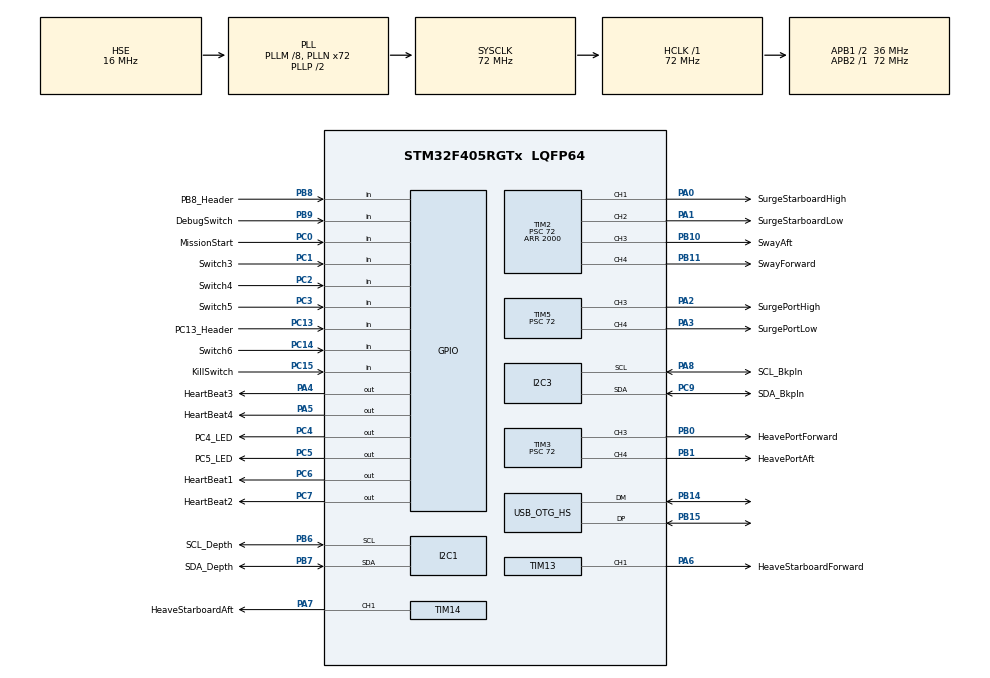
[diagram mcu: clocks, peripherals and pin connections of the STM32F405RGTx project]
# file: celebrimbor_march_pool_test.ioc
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FREERTOS.Tasks01=defaultTask,0,128,StartDefaultTask,Default,NULL
Mcu.Family=STM32F4
Mcu.Name=STM32F405RGTx
Mcu.Package=LQFP64
NVIC.OTG_HS_IRQn=true\:5\:0\:false\:false\:true\:true\:false
NVIC.PriorityGroup=NVIC_PRIORITYGROUP_4
NVIC.TIM1_UP_TIM10_IRQn=true\:0\:0\:false\:false\:true\:false\:false
NVIC.TimeBase=TIM1_UP_TIM10_IRQn
NVIC.TimeBaseIP=TIM1
PA0-WKUP.GPIO_Label=SurgeStarboardHigh
PA0-WKUP.Signal=S_TIM2_CH1_ETR
PA1.GPIO_Label=SurgeStarboardLow
PA1.Signal=S_TIM2_CH2
PA13.Mode=JTAG_5_pins
PA13.Signal=SYS_JTMS-SWDIO
PA14.Mode=JTAG_5_pins
PA14.Signal=SYS_JTCK-SWCLK
PA15.Mode=JTAG_5_pins
PA15.Signal=SYS_JTDI
PA2.GPIO_Label=SurgePortHigh
PA2.Signal=S_TIM5_CH3
PA3.GPIO_Label=SurgePortLow
PA3.Signal=S_TIM5_CH4
PA4.GPIO_Label=HeartBeat3
PA4.Signal=GPIO_Output
PA5.GPIO_Label=HeartBeat4
PA5.Signal=GPIO_Output
PA6.GPIO_Label=HeaveStarboardForward
PA6.Signal=S_TIM13_CH1
PA7.GPIO_Label=HeaveStarboardAft
PA7.Signal=S_TIM14_CH1
PA8.GPIO_Label=SCL_Bkpln
PA8.Mode=I2C
PA8.Signal=I2C3_SCL
PB0.GPIO_Label=HeavePortForward
PB0.Signal=S_TIM3_CH3
PB1.GPIO_Label=HeavePortAft
PB1.Signal=S_TIM3_CH4
PB10.GPIO_Label=SwayAft
PB10.Signal=S_TIM2_CH3
PB11.GPIO_Label=SwayForward
PB11.Signal=S_TIM2_CH4
PB14.Mode=Device_Only_FS
PB14.Signal=USB_OTG_HS_DM
PB15.Mode=Device_Only_FS
PB15.Signal=USB_OTG_HS_DP
PB3.Mode=JTAG_5_pins
PB3.Signal=SYS_JTDO-SWO
PB4.Mode=JTAG_5_pins
PB4.Signal=SYS_JTRST
PB6.GPIO_Label=SCL_Depth
PB6.Mode=I2C
PB6.Signal=I2C1_SCL
PB7.GPIO_Label=SDA_Depth
PB7.Mode=I2C
PB7.Signal=I2C1_SDA
PB8.GPIO_Label=PB8_Header
PB8.Signal=GPIO_Input
PB9.GPIO_Label=DebugSwitch
PB9.Signal=GPIO_Input
PC0.GPIO_Label=MissionStart
PC0.Signal=GPIO_Input
PC1.GPIO_Label=Switch3
PC1.GPIO_PuPd=GPIO_PULLDOWN
PC1.Signal=GPIO_Input
PC13-ANTI_TAMP.GPIO_Label=PC13_Header
PC13-ANTI_TAMP.Signal=GPIO_Input
PC14-OSC32_IN.GPIO_Label=Switch6
PC14-OSC32_IN.GPIO_PuPd=GPIO_PULLDOWN
PC14-OSC32_IN.Signal=GPIO_Input
PC15-OSC32_OUT.GPIO_Label=KillSwitch
PC15-OSC32_OUT.Signal=GPIO_Input
PC2.GPIO_Label=Switch4
PC2.GPIO_PuPd=GPIO_PULLDOWN
PC2.Signal=GPIO_Input
PC3.GPIO_Label=Switch5
PC3.GPIO_PuPd=GPIO_PULLDOWN
PC3.Signal=GPIO_Input
PC4.GPIO_Label=PC4_LED
PC4.Signal=GPIO_Output
PC5.GPIO_Label=PC5_LED
PC5.Signal=GPIO_Output
PC6.GPIO_Label=HeartBeat1
PC6.Signal=GPIO_Output
PC7.GPIO_Label=HeartBeat2
PC7.Signal=GPIO_Output
PC9.GPIO_Label=SDA_Bkpln
PC9.Mode=I2C
PC9.Signal=I2C3_SDA
PH0-OSC_IN.Mode=HSE-External-Oscillator
PH0-OSC_IN.Signal=RCC_OSC_IN
PH1-OSC_OUT.Mode=HSE-External-Oscillator
PH1-OSC_OUT.Signal=RCC_OSC_OUT
ProjectManager.HeapSize=0x200
ProjectManager.StackSize=0x400
ProjectManager.TargetToolchain=TrueSTUDIO
RCC.48MHZClocksFreq_Value=48000000
RCC.AHBFreq_Value=72000000
RCC.APB1CLKDivider=RCC_HCLK_DIV2
RCC.APB1Freq_Value=36000000
RCC.APB1TimFreq_Value=72000000
RCC.APB2Freq_Value=72000000
RCC.APB2TimFreq_Value=72000000
RCC.CortexFreq_Value=72000000
RCC.HCLKFreq_Value=72000000
RCC.HSE_VALUE=16000000
RCC.HSI_VALUE=16000000
RCC.LSE_VALUE=32768
RCC.PLLM=8
RCC.PLLN=72
RCC.PLLQ=3
RCC.SYSCLKFreq_VALUE=72000000
RCC.SYSCLKSource=RCC_SYSCLKSOURCE_PLLCLK
RCC.VCOOutputFreq_Value=144000000
SH.S_TIM13_CH1.0=TIM13_CH1,PWM Generation1 CH1
SH.S_TIM14_CH1.0=TIM14_CH1,PWM Generation1 CH1
SH.S_TIM2_CH1_ETR.0=TIM2_CH1,PWM Generation1 CH1
SH.S_TIM2_CH2.0=TIM2_CH2,PWM Generation2 CH2
SH.S_TIM2_CH3.0=TIM2_CH3,PWM Generation3 CH3
SH.S_TIM2_CH4.0=TIM2_CH4,PWM Generation4 CH4
SH.S_TIM3_CH3.0=TIM3_CH3,PWM Generation3 CH3
SH.S_TIM3_CH4.0=TIM3_CH4,PWM Generation4 CH4
SH.S_TIM5_CH3.0=TIM5_CH3,PWM Generation3 CH3
SH.S_TIM5_CH4.0=TIM5_CH4,PWM Generation4 CH4
TIM13.Channel=TIM_CHANNEL_1
TIM13.Period=2000
TIM13.Prescaler=72
TIM13.Pulse=1500
TIM14.Channel=TIM_CHANNEL_1
TIM14.Period=2000
TIM14.Prescaler=72
TIM14.Pulse=1500
TIM2.Channel-PWM\ Generation1\ CH1=TIM_CHANNEL_1
TIM2.Channel-PWM\ Generation2\ CH2=TIM_CHANNEL_2
TIM2.Channel-PWM\ Generation3\ CH3=TIM_CHANNEL_3
TIM2.Channel-PWM\ Generation4\ CH4=TIM_CHANNEL_4
TIM2.Period=2000
TIM2.Prescaler=72
TIM2.Pulse-PWM\ Generation1\ CH1=1500
TIM2.Pulse-PWM\ Generation2\ CH2=1500
TIM2.Pulse-PWM\ Generation3\ CH3=1500
TIM2.Pulse-PWM\ Generation4\ CH4=1500
TIM3.Channel-PWM\ Generation3\ CH3=TIM_CHANNEL_3
TIM3.Channel-PWM\ Generation4\ CH4=TIM_CHANNEL_4
TIM3.Period=2000
TIM3.Prescaler=72
TIM3.Pulse-PWM\ Generation3\ CH3=1500
TIM3.Pulse-PWM\ Generation4\ CH4=1500
TIM5.Channel-PWM\ Generation3\ CH3=TIM_CHANNEL_3
TIM5.Channel-PWM\ Generation4\ CH4=TIM_CHANNEL_4
TIM5.Period=2000
TIM5.Prescaler=72
TIM5.Pulse-PWM\ Generation3\ CH3=1500
TIM5.Pulse-PWM\ Generation4\ CH4=1500
USB_DEVICE.CLASS_NAME_HS=CDC
USB_DEVICE.VirtualMode-CDC_HS=Cdc
USB_DEVICE.VirtualModeHS=Cdc_HS
USB_OTG_HS.VirtualMode-Device_Only_FS=Device_Only_FS
VP_FREERTOS_VS_ENABLE.Mode=Enabled
VP_SYS_VS_tim1.Mode=TIM1
VP_TIM13_VS_ClockSourceINT.Mode=Enable_Timer
VP_TIM14_VS_ClockSourceINT.Mode=Enable_Timer
VP_USB_DEVICE_VS_USB_DEVICE_CDC_HS.Mode=CDC_HS
board=celebrimbor_march_pool_test

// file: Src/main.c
/**
  ******************************************************************************
  * File Name          : main.c
  * Description        : Main program body
  ******************************************************************************
  * This notice applies to any and all portions of this file
  * that are not between comment pairs USER CODE BEGIN and
  * USER CODE END. Other portions of this file, whether
  * inserted by the user or by software development tools
  * are owned by their respective copyright owners.
  *
  * Copyright (c) 2018 STMicroelectronics International N.V.
  * All rights reserved.
  *
  * Redistribution and use in source and binary forms, with or without
  * modification, are permitted, provided that the following conditions are met:
  *
  * 1. Redistribution of source code must retain the above copyright notice,
  *    this list of conditions and the following disclaimer.
  * 2. Redistributions in binary form must reproduce the above copyright notice,
  *    this list of conditions and the following disclaimer in the documentation
  *    and/or other materials provided with the distribution.
  * 3. Neither the name of STMicroelectronics nor the names of other
  *    contributors to this software may be used to endorse or promote products
  *    derived from this software without specific written permission.
  * 4. This software, including modifications and/or derivative works of this
  *    software, must execute solely and exclusively on microcontroller or
  *    microprocessor devices manufactured by or for STMicroelectronics.
  * 5. Redistribution and use of this software other than as permitted under
  *    this license is void and will automatically terminate your rights under
  *    this license.
  *
  * THIS SOFTWARE IS PROVIDED BY STMICROELECTRONICS AND CONTRIBUTORS "AS IS"
  * AND ANY EXPRESS, IMPLIED OR STATUTORY WARRANTIES, INCLUDING, BUT NOT
  * LIMITED TO, THE IMPLIED WARRANTIES OF MERCHANTABILITY, FITNESS FOR A
  * PARTICULAR PURPOSE AND NON-INFRINGEMENT OF THIRD PARTY INTELLECTUAL PROPERTY
  * RIGHTS ARE DISCLAIMED TO THE FULLEST EXTENT PERMITTED BY LAW. IN NO EVENT
  * SHALL STMICROELECTRONICS OR CONTRIBUTORS BE LIABLE FOR ANY DIRECT, INDIRECT,
  * INCIDENTAL, SPECIAL, EXEMPLARY, OR CONSEQUENTIAL DAMAGES (INCLUDING, BUT NOT
  * LIMITED TO, PROCUREMENT OF SUBSTITUTE GOODS OR SERVICES; LOSS OF USE, DATA,
  * OR PROFITS; OR BUSINESS INTERRUPTION) HOWEVER CAUSED AND ON ANY THEORY OF
  * LIABILITY, WHETHER IN CONTRACT, STRICT LIABILITY, OR TORT (INCLUDING
  * NEGLIGENCE OR OTHERWISE) ARISING IN ANY WAY OUT OF THE USE OF THIS SOFTWARE,
  * EVEN IF ADVISED OF THE POSSIBILITY OF SUCH DAMAGE.
  *
  ******************************************************************************
  */

#include "main.h"
#include "stm32f4xx_hal.h"
#include "cmsis_os.h"
#include "usb_device.h"

/* USER CODE BEGIN Includes */
#include "riptideMain.h"
/* USER CODE END Includes */

I2C_HandleTypeDef hi2c1;
I2C_HandleTypeDef hi2c3;

TIM_HandleTypeDef htim2;
TIM_HandleTypeDef htim3;
TIM_HandleTypeDef htim5;
TIM_HandleTypeDef htim13;
TIM_HandleTypeDef htim14;

osThreadId defaultTaskHandle;

/* USER CODE BEGIN PV */
/* Private variables ---------------------------------------------------------*/
TIM_HandleTypeDef htim2;
TIM_HandleTypeDef htim3;
TIM_HandleTypeDef htim5;
TIM_HandleTypeDef htim13;
TIM_HandleTypeDef htim14;
/* USER CODE END PV */

void SystemClock_Config(void);
static void MX_GPIO_Init(void);
static void MX_TIM2_Init(void);
static void MX_TIM13_Init(void);
static void MX_TIM14_Init(void);
static void MX_I2C3_Init(void);
static void MX_I2C1_Init(void);
static void MX_TIM3_Init(void);
static void MX_TIM5_Init(void);
void StartDefaultTask(void const * argument);

void HAL_TIM_MspPostInit(TIM_HandleTypeDef *htim);

/* USER CODE BEGIN PFP */
/* Private function prototypes -----------------------------------------------*/

I2C_HandleTypeDef* getI2CRef();
/* USER CODE END PFP */

int main(void)
{

  /* MCU Configuration----------------------------------------------------------*/

  /* Reset of all peripherals, Initializes the Flash interface and the Systick. */
  HAL_Init();

  /* Configure the system clock */
  SystemClock_Config();

  /* Initialize all configured peripherals */
  MX_GPIO_Init();
  MX_TIM2_Init();
  MX_TIM13_Init();
  MX_TIM14_Init();
  MX_I2C3_Init();
  MX_I2C1_Init();
  MX_TIM3_Init();
  MX_TIM5_Init();

  /* USER CODE BEGIN RTOS_TIMERS */
  /* start timers, add new ones, ... */
  HAL_TIM_PWM_Start(&htim2, TIM_CHANNEL_1);
  HAL_TIM_PWM_Start(&htim2, TIM_CHANNEL_2);
  HAL_TIM_PWM_Start(&htim2, TIM_CHANNEL_3);
  HAL_TIM_PWM_Start(&htim2, TIM_CHANNEL_4);
  HAL_TIM_PWM_Start(&htim3, TIM_CHANNEL_3);
  HAL_TIM_PWM_Start(&htim3, TIM_CHANNEL_4);
  HAL_TIM_PWM_Start(&htim5, TIM_CHANNEL_3);
  HAL_TIM_PWM_Start(&htim5, TIM_CHANNEL_4);
  HAL_TIM_PWM_Start(&htim13, TIM_CHANNEL_1);
  HAL_TIM_PWM_Start(&htim14, TIM_CHANNEL_1);
  /* USER CODE END RTOS_TIMERS */

  /* Create the thread(s) */
  /* definition and creation of defaultTask */
  osThreadDef(defaultTask, StartDefaultTask, osPriorityNormal, 0, 128);
  defaultTaskHandle = osThreadCreate(osThread(defaultTask), NULL);

  /* USER CODE BEGIN RTOS_THREADS */
  /* add threads, ... */
  riptideMain();
  /* USER CODE END RTOS_THREADS */

  /* Start scheduler */
  osKernelStart();

  /* We should never get here as control is now taken by the scheduler */

  /* Infinite loop */
  while (1)
  {

  }

}

/** System Clock Configuration
*/
void SystemClock_Config(void)
{

  RCC_OscInitTypeDef RCC_OscInitStruct;
  RCC_ClkInitTypeDef RCC_ClkInitStruct;

    /**Configure the main internal regulator output voltage
    */
  __HAL_RCC_PWR_CLK_ENABLE();

  __HAL_PWR_VOLTAGESCALING_CONFIG(PWR_REGULATOR_VOLTAGE_SCALE1);

    /**Initializes the CPU, AHB and APB busses clocks
    */
  RCC_OscInitStruct.OscillatorType = RCC_OSCILLATORTYPE_HSE;
  RCC_OscInitStruct.HSEState = RCC_HSE_ON;
  RCC_OscInitStruct.PLL.PLLState = RCC_PLL_ON;
  RCC_OscInitStruct.PLL.PLLSource = RCC_PLLSOURCE_HSE;
  RCC_OscInitStruct.PLL.PLLM = 8;
  RCC_OscInitStruct.PLL.PLLN = 72;
  RCC_OscInitStruct.PLL.PLLP = RCC_PLLP_DIV2;
  RCC_OscInitStruct.PLL.PLLQ = 3;
  if (HAL_RCC_OscConfig(&RCC_OscInitStruct) != HAL_OK)
  {
    _Error_Handler(__FILE__, __LINE__);
  }

    /**Initializes the CPU, AHB and APB busses clocks
    */
  RCC_ClkInitStruct.ClockType = RCC_CLOCKTYPE_HCLK|RCC_CLOCKTYPE_SYSCLK
                              |RCC_CLOCKTYPE_PCLK1|RCC_CLOCKTYPE_PCLK2;
  RCC_ClkInitStruct.SYSCLKSource = RCC_SYSCLKSOURCE_PLLCLK;
  RCC_ClkInitStruct.AHBCLKDivider = RCC_SYSCLK_DIV1;
  RCC_ClkInitStruct.APB1CLKDivider = RCC_HCLK_DIV2;
  RCC_ClkInitStruct.APB2CLKDivider = RCC_HCLK_DIV1;

  if (HAL_RCC_ClockConfig(&RCC_ClkInitStruct, FLASH_LATENCY_2) != HAL_OK)
  {
    _Error_Handler(__FILE__, __LINE__);
  }

    /**Configure the Systick interrupt time
    */
  HAL_SYSTICK_Config(HAL_RCC_GetHCLKFreq()/1000);

    /**Configure the Systick
    */
  HAL_SYSTICK_CLKSourceConfig(SYSTICK_CLKSOURCE_HCLK);

  /* SysTick_IRQn interrupt configuration */
  HAL_NVIC_SetPriority(SysTick_IRQn, 15, 0);
}

/* I2C1 init function */
static void MX_I2C1_Init(void)
{

  hi2c1.Instance = I2C1;
  hi2c1.Init.ClockSpeed = 100000;
  hi2c1.Init.DutyCycle = I2C_DUTYCYCLE_2;
  hi2c1.Init.OwnAddress1 = 0;
  hi2c1.Init.AddressingMode = I2C_ADDRESSINGMODE_7BIT;
  hi2c1.Init.DualAddressMode = I2C_DUALADDRESS_DISABLE;
  hi2c1.Init.OwnAddress2 = 0;
  hi2c1.Init.GeneralCallMode = I2C_GENERALCALL_DISABLE;
  hi2c1.Init.NoStretchMode = I2C_NOSTRETCH_DISABLE;
  if (HAL_I2C_Init(&hi2c1) != HAL_OK)
  {
    _Error_Handler(__FILE__, __LINE__);
  }

}

/* I2C3 init function */
static void MX_I2C3_Init(void)
{

  hi2c3.Instance = I2C3;
  hi2c3.Init.ClockSpeed = 100000;
  hi2c3.Init.DutyCycle = I2C_DUTYCYCLE_2;
  hi2c3.Init.OwnAddress1 = 0;
  hi2c3.Init.AddressingMode = I2C_ADDRESSINGMODE_7BIT;
  hi2c3.Init.DualAddressMode = I2C_DUALADDRESS_DISABLE;
  hi2c3.Init.OwnAddress2 = 0;
  hi2c3.Init.GeneralCallMode = I2C_GENERALCALL_DISABLE;
  hi2c3.Init.NoStretchMode = I2C_NOSTRETCH_DISABLE;
  if (HAL_I2C_Init(&hi2c3) != HAL_OK)
  {
    _Error_Handler(__FILE__, __LINE__);
  }

}

/* TIM2 init function */
static void MX_TIM2_Init(void)
{

  TIM_MasterConfigTypeDef sMasterConfig;
  TIM_OC_InitTypeDef sConfigOC;

  htim2.Instance = TIM2;
  htim2.Init.Prescaler = 72;
  htim2.Init.CounterMode = TIM_COUNTERMODE_UP;
  htim2.Init.Period = 2000;
  htim2.Init.ClockDivision = TIM_CLOCKDIVISION_DIV1;
  if (HAL_TIM_PWM_Init(&htim2) != HAL_OK)
  {
    _Error_Handler(__FILE__, __LINE__);
  }

  sMasterConfig.MasterOutputTrigger = TIM_TRGO_RESET;
  sMasterConfig.MasterSlaveMode = TIM_MASTERSLAVEMODE_DISABLE;
  if (HAL_TIMEx_MasterConfigSynchronization(&htim2, &sMasterConfig) != HAL_OK)
  {
    _Error_Handler(__FILE__, __LINE__);
  }

  sConfigOC.OCMode = TIM_OCMODE_PWM1;
  sConfigOC.Pulse = 1500;
  sConfigOC.OCPolarity = TIM_OCPOLARITY_HIGH;
  sConfigOC.OCFastMode = TIM_OCFAST_DISABLE;
  if (HAL_TIM_PWM_ConfigChannel(&htim2, &sConfigOC, TIM_CHANNEL_1) != HAL_OK)
  {
    _Error_Handler(__FILE__, __LINE__);
  }

  if (HAL_TIM_PWM_ConfigChannel(&htim2, &sConfigOC, TIM_CHANNEL_2) != HAL_OK)
  {
    _Error_Handler(__FILE__, __LINE__);
  }

  if (HAL_TIM_PWM_ConfigChannel(&htim2, &sConfigOC, TIM_CHANNEL_3) != HAL_OK)
  {
    _Error_Handler(__FILE__, __LINE__);
  }

  if (HAL_TIM_PWM_ConfigChannel(&htim2, &sConfigOC, TIM_CHANNEL_4) != HAL_OK)
  {
    _Error_Handler(__FILE__, __LINE__);
  }

  HAL_TIM_MspPostInit(&htim2);

}

/* TIM3 init function */
static void MX_TIM3_Init(void)
{

  TIM_MasterConfigTypeDef sMasterConfig;
  TIM_OC_InitTypeDef sConfigOC;

  htim3.Instance = TIM3;
  htim3.Init.Prescaler = 72;
  htim3.Init.CounterMode = TIM_COUNTERMODE_UP;
  htim3.Init.Period = 2000;
  htim3.Init.ClockDivision = TIM_CLOCKDIVISION_DIV1;
  if (HAL_TIM_PWM_Init(&htim3) != HAL_OK)
  {
    _Error_Handler(__FILE__, __LINE__);
  }

  sMasterConfig.MasterOutputTrigger = TIM_TRGO_RESET;
  sMasterConfig.MasterSlaveMode = TIM_MASTERSLAVEMODE_DISABLE;
  if (HAL_TIMEx_MasterConfigSynchronization(&htim3, &sMasterConfig) != HAL_OK)
  {
    _Error_Handler(__FILE__, __LINE__);
  }

  sConfigOC.OCMode = TIM_OCMODE_PWM1;
  sConfigOC.Pulse = 1500;
  sConfigOC.OCPolarity = TIM_OCPOLARITY_HIGH;
  sConfigOC.OCFastMode = TIM_OCFAST_DISABLE;
  if (HAL_TIM_PWM_ConfigChannel(&htim3, &sConfigOC, TIM_CHANNEL_3) != HAL_OK)
  {
    _Error_Handler(__FILE__, __LINE__);
  }

  if (HAL_TIM_PWM_ConfigChannel(&htim3, &sConfigOC, TIM_CHANNEL_4) != HAL_OK)
  {
    _Error_Handler(__FILE__, __LINE__);
  }

  HAL_TIM_MspPostInit(&htim3);

}

/* TIM5 init function */
static void MX_TIM5_Init(void)
{

  TIM_MasterConfigTypeDef sMasterConfig;
  TIM_OC_InitTypeDef sConfigOC;

  htim5.Instance = TIM5;
  htim5.Init.Prescaler = 72;
  htim5.Init.CounterMode = TIM_COUNTERMODE_UP;
  htim5.Init.Period = 2000;
  htim5.Init.ClockDivision = TIM_CLOCKDIVISION_DIV1;
  if (HAL_TIM_PWM_Init(&htim5) != HAL_OK)
  {
    _Error_Handler(__FILE__, __LINE__);
  }

  sMasterConfig.MasterOutputTrigger = TIM_TRGO_RESET;
  sMasterConfig.MasterSlaveMode = TIM_MASTERSLAVEMODE_DISABLE;
  if (HAL_TIMEx_MasterConfigSynchronization(&htim5, &sMasterConfig) != HAL_OK)
  {
    _Error_Handler(__FILE__, __LINE__);
  }

  sConfigOC.OCMode = TIM_OCMODE_PWM1;
  sConfigOC.Pulse = 1500;
  sConfigOC.OCPolarity = TIM_OCPOLARITY_HIGH;
  sConfigOC.OCFastMode = TIM_OCFAST_DISABLE;
  if (HAL_TIM_PWM_ConfigChannel(&htim5, &sConfigOC, TIM_CHANNEL_3) != HAL_OK)
  {
    _Error_Handler(__FILE__, __LINE__);
  }

  if (HAL_TIM_PWM_ConfigChannel(&htim5, &sConfigOC, TIM_CHANNEL_4) != HAL_OK)
  {
    _Error_Handler(__FILE__, __LINE__);
  }

  HAL_TIM_MspPostInit(&htim5);

}

/* TIM13 init function */
static void MX_TIM13_Init(void)
{

  TIM_OC_InitTypeDef sConfigOC;

  htim13.Instance = TIM13;
  htim13.Init.Prescaler = 72;
  htim13.Init.CounterMode = TIM_COUNTERMODE_UP;
  htim13.Init.Period = 2000;
  htim13.Init.ClockDivision = TIM_CLOCKDIVISION_DIV1;
  if (HAL_TIM_Base_Init(&htim13) != HAL_OK)
  {
    _Error_Handler(__FILE__, __LINE__);
  }

  if (HAL_TIM_PWM_Init(&htim13) != HAL_OK)
  {
    _Error_Handler(__FILE__, __LINE__);
  }

  sConfigOC.OCMode = TIM_OCMODE_PWM1;
  sConfigOC.Pulse = 1500;
  sConfigOC.OCPolarity = TIM_OCPOLARITY_HIGH;
  sConfigOC.OCFastMode = TIM_OCFAST_DISABLE;
  if (HAL_TIM_PWM_ConfigChannel(&htim13, &sConfigOC, TIM_CHANNEL_1) != HAL_OK)
  {
    _Error_Handler(__FILE__, __LINE__);
  }

  HAL_TIM_MspPostInit(&htim13);

}

/* TIM14 init function */
static void MX_TIM14_Init(void)
{

  TIM_OC_InitTypeDef sConfigOC;

  htim14.Instance = TIM14;
  htim14.Init.Prescaler = 72;
  htim14.Init.CounterMode = TIM_COUNTERMODE_UP;
  htim14.Init.Period = 2000;
  htim14.Init.ClockDivision = TIM_CLOCKDIVISION_DIV1;
  if (HAL_TIM_Base_Init(&htim14) != HAL_OK)
  {
    _Error_Handler(__FILE__, __LINE__);
  }

  if (HAL_TIM_PWM_Init(&htim14) != HAL_OK)
  {
    _Error_Handler(__FILE__, __LINE__);
  }

  sConfigOC.OCMode = TIM_OCMODE_PWM1;
  sConfigOC.Pulse = 1500;
  sConfigOC.OCPolarity = TIM_OCPOLARITY_HIGH;
  sConfigOC.OCFastMode = TIM_OCFAST_DISABLE;
  if (HAL_TIM_PWM_ConfigChannel(&htim14, &sConfigOC, TIM_CHANNEL_1) != HAL_OK)
  {
    _Error_Handler(__FILE__, __LINE__);
  }

  HAL_TIM_MspPostInit(&htim14);

}

/** Configure pins as
        * Analog
        * Input
        * Output
        * EVENT_OUT
        * EXTI
*/
static void MX_GPIO_Init(void)
{

  GPIO_InitTypeDef GPIO_InitStruct;

  /* GPIO Ports Clock Enable */
  __HAL_RCC_GPIOC_CLK_ENABLE();
  __HAL_RCC_GPIOH_CLK_ENABLE();
  __HAL_RCC_GPIOA_CLK_ENABLE();
  __HAL_RCC_GPIOB_CLK_ENABLE();

  /*Configure GPIO pin Output Level */
  HAL_GPIO_WritePin(GPIOA, HeartBeat3_Pin|HeartBeat4_Pin, GPIO_PIN_RESET);

  /*Configure GPIO pin Output Level */
  HAL_GPIO_WritePin(GPIOC, PC4_LED_Pin|PC5_LED_Pin|HeartBeat1_Pin|HeartBeat2_Pin, GPIO_PIN_RESET);

  /*Configure GPIO pins : PC13_Header_Pin MissionStart_Pin */
  GPIO_InitStruct.Pin = PC13_Header_Pin|MissionStart_Pin;
  GPIO_InitStruct.Mode = GPIO_MODE_INPUT;
  GPIO_InitStruct.Pull = GPIO_NOPULL;
  HAL_GPIO_Init(GPIOC, &GPIO_InitStruct);

  /*Configure GPIO pins : Switch6_Pin KillSwitch_Pin Switch3_Pin Switch4_Pin
                           Switch5_Pin */
  GPIO_InitStruct.Pin = Switch6_Pin|KillSwitch_Pin|Switch3_Pin|Switch4_Pin
                          |Switch5_Pin;
  GPIO_InitStruct.Mode = GPIO_MODE_INPUT;
  GPIO_InitStruct.Pull = GPIO_PULLDOWN;
  HAL_GPIO_Init(GPIOC, &GPIO_InitStruct);

  /*Configure GPIO pins : HeartBeat3_Pin HeartBeat4_Pin */
  GPIO_InitStruct.Pin = HeartBeat3_Pin|HeartBeat4_Pin;
  GPIO_InitStruct.Mode = GPIO_MODE_OUTPUT_PP;
  GPIO_InitStruct.Pull = GPIO_NOPULL;
  GPIO_InitStruct.Speed = GPIO_SPEED_FREQ_LOW;
  HAL_GPIO_Init(GPIOA, &GPIO_InitStruct);

  /*Configure GPIO pins : PC4_LED_Pin PC5_LED_Pin HeartBeat1_Pin HeartBeat2_Pin */
  GPIO_InitStruct.Pin = PC4_LED_Pin|PC5_LED_Pin|HeartBeat1_Pin|HeartBeat2_Pin;
  GPIO_InitStruct.Mode = GPIO_MODE_OUTPUT_PP;
  GPIO_InitStruct.Pull = GPIO_NOPULL;
  GPIO_InitStruct.Speed = GPIO_SPEED_FREQ_LOW;
  HAL_GPIO_Init(GPIOC, &GPIO_InitStruct);

  /*Configure GPIO pins : PB8_Header_Pin DebugSwitch_Pin */
  GPIO_InitStruct.Pin = PB8_Header_Pin|DebugSwitch_Pin;
  GPIO_InitStruct.Mode = GPIO_MODE_INPUT;
  GPIO_InitStruct.Pull = GPIO_NOPULL;
  HAL_GPIO_Init(GPIOB, &GPIO_InitStruct);

}

/* USER CODE BEGIN 4 */
void writePWM(uint16_t * values) {
	  // I wrote this at 1 am, there is a good chance the order or something is wrong
	  htim2.Instance->CCR1 = values[0];
	  htim2.Instance->CCR3 = values[1];
	  htim5.Instance->CCR4 = values[2];
	  htim2.Instance->CCR2 = values[3];
	  htim2.Instance->CCR4 = values[4];
	  htim5.Instance->CCR3 = values[5];
	  htim3.Instance->CCR4 = values[6];
	  htim14.Instance->CCR1 = values[7];
	  htim13.Instance->CCR1 = values[8];
	  htim3.Instance->CCR3 = values[9];
}

void resetPWM() {
	  htim2.Instance->CCR1 = 1500;
	  htim5.Instance->CCR3 = 1500;
	  htim5.Instance->CCR4 = 1500;
	  htim2.Instance->CCR2 = 1500;
	  htim2.Instance->CCR4 = 1500;
	  htim2.Instance->CCR3 = 1500;
	  htim3.Instance->CCR4 = 1500;
	  htim14.Instance->CCR1 = 1500;
	  htim13.Instance->CCR1 = 1500;
	  htim3.Instance->CCR3 = 1500;
}

I2C_HandleTypeDef* getI2CRef() {
	return &hi2c1;
}
/* USER CODE END 4 */

/* StartDefaultTask function */
void StartDefaultTask(void const * argument)
{
  /* init code for USB_DEVICE */
  MX_USB_DEVICE_Init();

  resetPWM();

  /* USER CODE BEGIN 5 */

//  vTaskDelay(5000);
//  for (int i = 1500; i < 1600; i += 5) {
//	  htim2.Instance->CCR1 = i;
//	  htim2.Instance->CCR2 = i;
//	  htim2.Instance->CCR3 = i;
//	  htim2.Instance->CCR4 = i;
//	  htim3.Instance->CCR3 = i;
//	  htim3.Instance->CCR4 = i;
//	  htim5.Instance->CCR3 = i;
//	  htim5.Instance->CCR4 = i;
//	  vTaskDelay(150);
//  }
//  htim2.Instance->CCR1 = 1500;
//  htim2.Instance->CCR2 = 1500;
//  htim2.Instance->CCR3 = 1500;
//  htim2.Instance->CCR4 = 1500;
//  htim3.Instance->CCR3 = 1500;
//  htim3.Instance->CCR4 = 1500;
//  htim5.Instance->CCR3 = 1500;
//  htim5.Instance->CCR4 = 1500;

  /* Infinite loop */
  for(;;)
  {
    osDelay(1);
  }
  /* USER CODE END 5 */
}

void HAL_TIM_PeriodElapsedCallback(TIM_HandleTypeDef *htim)
{
  if (htim->Instance == TIM1) {
    HAL_IncTick();
  }
}

void _Error_Handler(char * file, int line)
{
  while(1)
  {
  }
}

/************************ (C) COPYRIGHT STMicroelectronics *****END OF FILE****/
